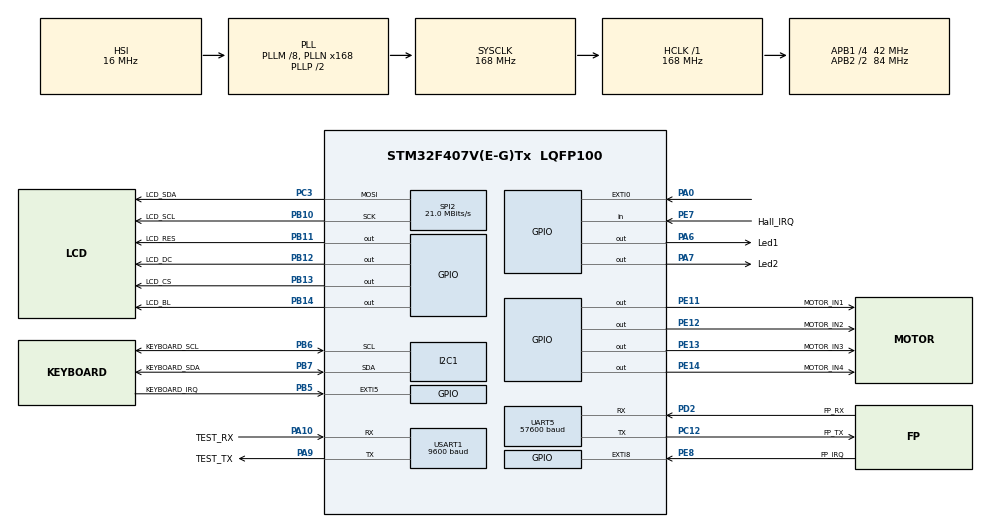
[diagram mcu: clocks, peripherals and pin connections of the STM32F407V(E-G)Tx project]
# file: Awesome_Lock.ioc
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IWDG.Prescaler=IWDG_PRESCALER_256
IWDG.Reload=1249
Mcu.Family=STM32F4
Mcu.Name=STM32F407V(E-G)Tx
Mcu.Package=LQFP100
NVIC.EXTI0_IRQn=true\:3\:0\:true\:false\:true\:true\:true
NVIC.EXTI9_5_IRQn=true\:3\:0\:true\:false\:true\:true\:true
NVIC.PriorityGroup=NVIC_PRIORITYGROUP_4
NVIC.TIM2_IRQn=true\:5\:0\:true\:false\:true\:true\:true
NVIC.TIM4_IRQn=true\:5\:0\:true\:false\:true\:true\:true
NVIC.TIM6_DAC_IRQn=true\:0\:0\:true\:false\:true\:true\:true
NVIC.TIM7_IRQn=true\:5\:0\:true\:false\:true\:true\:true
NVIC.UART5_IRQn=true\:2\:0\:true\:false\:true\:true\:true
PA0-WKUP.GPIO_ModeDefaultEXTI=GPIO_MODE_IT_RISING
PA0-WKUP.GPIO_PuPd=GPIO_PULLDOWN
PA0-WKUP.Signal=GPXTI0
PA10.GPIO_Label=TEST_RX
PA10.GPIO_PuPd=GPIO_PULLUP
PA10.Mode=Asynchronous
PA10.Signal=USART1_RX
PA6.GPIO_Label=Led1
PA6.Signal=GPIO_Output
PA7.GPIO_Label=Led2
PA7.Signal=GPIO_Output
PA9.GPIO_Label=TEST_TX
PA9.GPIO_PuPd=GPIO_PULLUP
PA9.Mode=Asynchronous
PA9.Signal=USART1_TX
PB10.GPIO_Label=LCD_SCL
PB10.Mode=TX_Only_Simplex_Unidirect_Master
PB10.Signal=SPI2_SCK
PB11.GPIO_Label=LCD_RES
PB11.Signal=GPIO_Output
PB12.GPIO_Label=LCD_DC
PB12.Signal=GPIO_Output
PB13.GPIO_Label=LCD_CS
PB13.Signal=GPIO_Output
PB14.GPIO_Label=LCD_BL
PB14.Signal=GPIO_Output
PB5.GPIO_Label=KEYBOARD_IRQ
PB5.GPIO_ModeDefaultEXTI=GPIO_MODE_IT_FALLING
PB5.GPIO_PuPd=GPIO_PULLUP
PB5.Signal=GPXTI5
PB6.GPIO_Label=KEYBOARD_SCL
PB6.Mode=I2C
PB6.Signal=I2C1_SCL
PB7.GPIO_Label=KEYBOARD_SDA
PB7.Mode=I2C
PB7.Signal=I2C1_SDA
PC12.GPIO_Label=FP_TX
PC12.Mode=Asynchronous
PC12.Signal=UART5_TX
PC3.GPIO_Label=LCD_SDA
PC3.Mode=TX_Only_Simplex_Unidirect_Master
PC3.Signal=SPI2_MOSI
PD2.GPIO_Label=FP_RX
PD2.Mode=Asynchronous
PD2.Signal=UART5_RX
PE11.GPIO_Label=MOTOR_IN1
PE11.Signal=GPIO_Output
PE12.GPIO_Label=MOTOR_IN2
PE12.Signal=GPIO_Output
PE13.GPIO_Label=MOTOR_IN3
PE13.Signal=GPIO_Output
PE14.GPIO_Label=MOTOR_IN4
PE14.Signal=GPIO_Output
PE7.GPIO_Label=Hall_IRQ
PE7.GPIO_PuPd=GPIO_PULLUP
PE7.Signal=GPIO_Input
PE8.GPIO_Label=FP_IRQ
PE8.GPIO_ModeDefaultEXTI=GPIO_MODE_IT_RISING
PE8.GPIO_PuPd=GPIO_PULLUP
PE8.Signal=GPXTI8
ProjectManager.HeapSize=0x400
ProjectManager.StackSize=0x2000
ProjectManager.TargetToolchain=MDK-ARM V5.32
RCC.48MHZClocksFreq_Value=84000000
RCC.AHBFreq_Value=168000000
RCC.APB1CLKDivider=RCC_HCLK_DIV4
RCC.APB1Freq_Value=42000000
RCC.APB1TimFreq_Value=84000000
RCC.APB2CLKDivider=RCC_HCLK_DIV2
RCC.APB2Freq_Value=84000000
RCC.APB2TimFreq_Value=168000000
RCC.CortexFreq_Value=168000000
RCC.HCLKFreq_Value=168000000
RCC.HSE_VALUE=8000000
RCC.HSI_VALUE=16000000
RCC.LSE_VALUE=32768
RCC.PLLM=8
RCC.PLLN=168
RCC.SYSCLKFreq_VALUE=168000000
RCC.SYSCLKSource=RCC_SYSCLKSOURCE_PLLCLK
RCC.VCOOutputFreq_Value=336000000
SPI2.BaudRatePrescaler=SPI_BAUDRATEPRESCALER_2
SPI2.CalculateBaudRate=21.0 MBits/s
SPI2.Direction=SPI_DIRECTION_2LINES
SPI2.Mode=SPI_MODE_MASTER
SPI2.VirtualType=VM_MASTER
TIM2.AutoReloadPreload=TIM_AUTORELOAD_PRELOAD_ENABLE
TIM2.Period=9999
TIM2.Prescaler=8399
TIM4.Period=3999
TIM4.Prescaler=41999
TIM6.AutoReloadPreload=TIM_AUTORELOAD_PRELOAD_ENABLE
TIM6.Period=199
TIM6.Prescaler=167
TIM7.Period=999
TIM7.Prescaler=16799
UART5.BaudRate=57600
UART5.VirtualMode=Asynchronous
USART1.BaudRate=9600
USART1.StopBits=STOPBITS_1
USART1.VirtualMode=VM_ASYNC
VP_IWDG_VS_IWDG.Mode=IWDG_Activate
VP_TIM2_VS_ClockSourceINT.Mode=Internal
VP_TIM4_VS_ClockSourceINT.Mode=Internal
VP_TIM6_VS_ClockSourceINT.Mode=Enable_Timer
VP_TIM7_VS_ClockSourceINT.Mode=Enable_Timer
board=custom

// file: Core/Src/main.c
/* USER CODE END 4 */
/**
  ******************************************************************************
  * @file           : main.c
  * @brief          : Main program body
  ******************************************************************************
  * @attention
  *
  * Copyright (c) 2025 STMicroelectronics.
  * All rights reserved.
  *
  * This software is licensed under terms that can be found in the LICENSE file
  * in the root directory of this software component.
  * If no LICENSE file comes with this software, it is provided AS-IS.
  *
  ******************************************************************************
  */
/* USER CODE END Header */
#include "main.h"

/* USER CODE BEGIN Includes */
#include "App.h"
#include "Debug.h"
#include "app_util.h"
/* USER CODE END Includes */

I2C_HandleTypeDef hi2c1;

IWDG_HandleTypeDef hiwdg;

SPI_HandleTypeDef hspi2;

TIM_HandleTypeDef htim2;
TIM_HandleTypeDef htim4;
TIM_HandleTypeDef htim6;
TIM_HandleTypeDef htim7;

UART_HandleTypeDef huart5;
UART_HandleTypeDef huart1;

void SystemClock_Config(void);
static void MX_GPIO_Init(void);
static void MX_I2C1_Init(void);
static void MX_SPI2_Init(void);
static void MX_TIM6_Init(void);
static void MX_TIM7_Init(void);
static void MX_USART1_UART_Init(void);
static void MX_UART5_Init(void);
static void MX_TIM2_Init(void);
static void MX_IWDG_Init(void);
static void MX_TIM4_Init(void);
/* USER CODE BEGIN 0 */
/*
 * 开机打印复位原因，便于定位“自动重启”：
 *   IWDG  -> 主循环超过约 10s 没喂狗（卡死/被中断饿死）
 *   POR   -> 正常上电
 *   PIN   -> 复位脚/下载器复位
 *   BOR   -> 供电跌落
 *   SFTRST-> 软件复位
 */
static void Report_Reset_Cause(void)
{
    volatile AppFaultRecord *record = App_GetFaultRecord();

    uart_printf("\r\n=== BOOT ===\r\n");

    if ((record->magic == APP_FAULT_RECORD_MAGIC) &&
        (record->code_inv == ~record->code))
    {
        uart_printf("PREV FAULT code=%lu (1=Hard 2=Mem 3=Bus 4=Usage 5=NMI 6=ErrorHandler)\r\n",
                    (unsigned long)record->code);
    }
    record->magic = 0U;
    record->code = 0U;
    record->code_inv = 0U;

    if (__HAL_RCC_GET_FLAG(RCC_FLAG_IWDGRST) != RESET)
    {
        uart_printf("RESET: IWDG (main loop stuck / watchdog)\r\n");
    }
    else if (__HAL_RCC_GET_FLAG(RCC_FLAG_WWDGRST) != RESET)
    {
        uart_printf("RESET: WWDG\r\n");
    }
    else if (__HAL_RCC_GET_FLAG(RCC_FLAG_BORRST) != RESET)
    {
        uart_printf("RESET: BOR (power dip)\r\n");
    }
    else if (__HAL_RCC_GET_FLAG(RCC_FLAG_SFTRST) != RESET)
    {
        uart_printf("RESET: Software\r\n");
    }
    else if (__HAL_RCC_GET_FLAG(RCC_FLAG_PINRST) != RESET)
    {
        uart_printf("RESET: Pin / debugger\r\n");
    }
    else if (__HAL_RCC_GET_FLAG(RCC_FLAG_PORRST) != RESET)
    {
        uart_printf("RESET: Power-on\r\n");
    }
    else
    {
        uart_printf("RESET: unknown\r\n");
    }

    __HAL_RCC_CLEAR_RESET_FLAGS();
}
/* USER CODE END 0 */

int main(void)
{

    /* MCU Configuration--------------------------------------------------------*/

    /* Reset of all peripherals, Initializes the Flash interface and the Systick. */
    HAL_Init();

    /* Configure the system clock */
    SystemClock_Config();

    /* USER CODE END TIM6_Init 1 */
	/*
	 * 说明：
	 * 旧版为了绕开“上电中断早于外设初始化”的问题，采用了
	 * “先初始化 GPIO → 关闭 EXTI → 初始化外设 → 再打开 EXTI”的 hack。
	 * 新版中断里只投递事件，不再访问任何外设，因此保持 CubeMX 默认顺序即可。
	 */
    /* USER CODE END SysInit */

    /* Initialize all configured peripherals */
    MX_GPIO_Init();
    MX_I2C1_Init();
    MX_SPI2_Init();
    MX_TIM6_Init();
    MX_TIM7_Init();
    MX_USART1_UART_Init();
    MX_UART5_Init();
    MX_TIM2_Init();
    MX_IWDG_Init();
    MX_TIM4_Init();
  /* USER CODE BEGIN 2 */
	/* 给指纹模块、键盘等外部器件留出上电稳定时间 */
	HAL_Delay(100);
	Report_Reset_Cause();
	HAL_Delay(200);
	App_Init();
  /* USER CODE END 2 */

    /* Infinite loop */
    while (1)
    {

        /* USER CODE BEGIN 3 */
		App_Running();
    }
  /* USER CODE END 6 */
}

/**
    * @brief System Clock Configuration
    * @retval None
    */
void SystemClock_Config(void)
{
    RCC_OscInitTypeDef RCC_OscInitStruct = {0};
    RCC_ClkInitTypeDef RCC_ClkInitStruct = {0};

    /** Configure the main internal regulator output voltage
    */
    __HAL_RCC_PWR_CLK_ENABLE();
    __HAL_PWR_VOLTAGESCALING_CONFIG(PWR_REGULATOR_VOLTAGE_SCALE1);
    /** Initializes the RCC Oscillators according to the specified parameters
    * in the RCC_OscInitTypeDef structure.
    */
    RCC_OscInitStruct.OscillatorType = RCC_OSCILLATORTYPE_HSI|RCC_OSCILLATORTYPE_LSI;
    RCC_OscInitStruct.HSIState = RCC_HSI_ON;
    RCC_OscInitStruct.HSICalibrationValue = RCC_HSICALIBRATION_DEFAULT;
    RCC_OscInitStruct.LSIState = RCC_LSI_ON;
    RCC_OscInitStruct.PLL.PLLState = RCC_PLL_ON;
    RCC_OscInitStruct.PLL.PLLSource = RCC_PLLSOURCE_HSI;
    RCC_OscInitStruct.PLL.PLLM = 8;
    RCC_OscInitStruct.PLL.PLLN = 168;
    RCC_OscInitStruct.PLL.PLLP = RCC_PLLP_DIV2;
    RCC_OscInitStruct.PLL.PLLQ = 4;
    if (HAL_RCC_OscConfig(&RCC_OscInitStruct) != HAL_OK)
    {
        Error_Handler();
    }
    /** Initializes the CPU, AHB and APB buses clocks
    */
    RCC_ClkInitStruct.ClockType = RCC_CLOCKTYPE_HCLK|RCC_CLOCKTYPE_SYSCLK
                                                            |RCC_CLOCKTYPE_PCLK1|RCC_CLOCKTYPE_PCLK2;
    RCC_ClkInitStruct.SYSCLKSource = RCC_SYSCLKSOURCE_PLLCLK;
    RCC_ClkInitStruct.AHBCLKDivider = RCC_SYSCLK_DIV1;
    RCC_ClkInitStruct.APB1CLKDivider = RCC_HCLK_DIV4;
    RCC_ClkInitStruct.APB2CLKDivider = RCC_HCLK_DIV2;

    if (HAL_RCC_ClockConfig(&RCC_ClkInitStruct, FLASH_LATENCY_5) != HAL_OK)
    {
        Error_Handler();
    }
}

/**
    * @brief I2C1 Initialization Function
    * @param None
    * @retval None
    */
static void MX_I2C1_Init(void)
{

    /* USER CODE BEGIN I2C1_Init 0 */
    /* USER CODE END I2C1_Init 0 */

    /* USER CODE BEGIN I2C1_Init 1 */

    /* USER CODE END I2C1_Init 1 */
    hi2c1.Instance = I2C1;
    hi2c1.Init.ClockSpeed = 100000;
    hi2c1.Init.DutyCycle = I2C_DUTYCYCLE_2;
    hi2c1.Init.OwnAddress1 = 0;
    hi2c1.Init.AddressingMode = I2C_ADDRESSINGMODE_7BIT;
    hi2c1.Init.DualAddressMode = I2C_DUALADDRESS_DISABLE;
    hi2c1.Init.OwnAddress2 = 0;
    hi2c1.Init.GeneralCallMode = I2C_GENERALCALL_DISABLE;
    hi2c1.Init.NoStretchMode = I2C_NOSTRETCH_DISABLE;
    if (HAL_I2C_Init(&hi2c1) != HAL_OK)
    {
        Error_Handler();
    }
    /* USER CODE BEGIN I2C1_Init 2 */

  /* USER CODE END Error_Handler_Debug */

}

/**
    * @brief IWDG Initialization Function
    * @param None
    * @retval None
    */
static void MX_IWDG_Init(void)
{

    /* USER CODE BEGIN IWDG_Init 0 */

    /* USER CODE END IWDG_Init 0 */

    /* USER CODE BEGIN IWDG_Init 1 */

    /* USER CODE END IWDG_Init 1 */
    /*
     * IWDG 约 10s 超时（LSI 32kHz / 256 / 1250 ≈ 10s）。
     * 必须大于最长的合法阻塞操作：Sector5（128KB）Flash 擦除最坏约 4s。
     * 看门狗只在主循环喂，任何任务卡死都会自动复位，而不是像旧版那样
     * 在 TIM4 中断里喂狗、主循环死了还能“假活”。
     */
    hiwdg.Instance = IWDG;
    hiwdg.Init.Prescaler = IWDG_PRESCALER_256;
    hiwdg.Init.Reload = 1249;
    if (HAL_IWDG_Init(&hiwdg) != HAL_OK)
    {
        Error_Handler();
    }
    /* USER CODE BEGIN IWDG_Init 2 */

    /* USER CODE END USART1_Init 2 */

}

/**
    * @brief SPI2 Initialization Function
    * @param None
    * @retval None
    */
static void MX_SPI2_Init(void)
{

    /* USER CODE BEGIN SPI2_Init 0 */

    /* USER CODE END SPI2_Init 0 */

    /* USER CODE BEGIN SPI2_Init 1 */

    /* USER CODE END SPI2_Init 1 */
    /* SPI2 parameter configuration*/
    hspi2.Instance = SPI2;
    hspi2.Init.Mode = SPI_MODE_MASTER;
    hspi2.Init.Direction = SPI_DIRECTION_2LINES;
    hspi2.Init.DataSize = SPI_DATASIZE_8BIT;
    hspi2.Init.CLKPolarity = SPI_POLARITY_LOW;
    hspi2.Init.CLKPhase = SPI_PHASE_1EDGE;
    hspi2.Init.NSS = SPI_NSS_SOFT;
    hspi2.Init.BaudRatePrescaler = SPI_BAUDRATEPRESCALER_2;
    hspi2.Init.FirstBit = SPI_FIRSTBIT_MSB;
    hspi2.Init.TIMode = SPI_TIMODE_DISABLE;
    hspi2.Init.CRCCalculation = SPI_CRCCALCULATION_DISABLE;
    hspi2.Init.CRCPolynomial = 10;
    if (HAL_SPI_Init(&hspi2) != HAL_OK)
    {
        Error_Handler();
    }
    /* USER CODE BEGIN SPI2_Init 2 */

    /* USER CODE END UART5_Init 2 */

}

/**
    * @brief TIM2 Initialization Function
    * @param None
    * @retval None
    */
static void MX_TIM2_Init(void)
{

    /* USER CODE BEGIN TIM2_Init 0 */

    /* USER CODE END TIM4_Init 0 */

    TIM_ClockConfigTypeDef sClockSourceConfig = {0};
    TIM_MasterConfigTypeDef sMasterConfig = {0};

    /* USER CODE BEGIN TIM2_Init 1 */

    /* USER CODE END TIM2_Init 1 */
    htim2.Instance = TIM2;
    htim2.Init.Prescaler = 8399;
    htim2.Init.CounterMode = TIM_COUNTERMODE_UP;
    htim2.Init.Period = 9999;
    htim2.Init.ClockDivision = TIM_CLOCKDIVISION_DIV1;
    htim2.Init.AutoReloadPreload = TIM_AUTORELOAD_PRELOAD_ENABLE;
    if (HAL_TIM_Base_Init(&htim2) != HAL_OK)
    {
        Error_Handler();
    }
    sClockSourceConfig.ClockSource = TIM_CLOCKSOURCE_INTERNAL;
    if (HAL_TIM_ConfigClockSource(&htim2, &sClockSourceConfig) != HAL_OK)
    {
        Error_Handler();
    }
    sMasterConfig.MasterOutputTrigger = TIM_TRGO_RESET;
    sMasterConfig.MasterSlaveMode = TIM_MASTERSLAVEMODE_DISABLE;
    if (HAL_TIMEx_MasterConfigSynchronization(&htim2, &sMasterConfig) != HAL_OK)
    {
        Error_Handler();
    }
    /* USER CODE BEGIN TIM2_Init 2 */

    /* USER CODE END TIM7_Init 2 */

}

/**
    * @brief TIM4 Initialization Function
    * @param None
    * @retval None
    */
static void MX_TIM4_Init(void)
{

    /* USER CODE BEGIN TIM4_Init 0 */

    /* USER CODE END TIM2_Init 0 */

    TIM_ClockConfigTypeDef sClockSourceConfig = {0};
    TIM_MasterConfigTypeDef sMasterConfig = {0};

    /* USER CODE BEGIN TIM4_Init 1 */

    /* USER CODE END TIM4_Init 1 */
    htim4.Instance = TIM4;
    htim4.Init.Prescaler = 41999;
    htim4.Init.CounterMode = TIM_COUNTERMODE_UP;
    htim4.Init.Period = 3999;
    htim4.Init.ClockDivision = TIM_CLOCKDIVISION_DIV1;
    htim4.Init.AutoReloadPreload = TIM_AUTORELOAD_PRELOAD_DISABLE;
    if (HAL_TIM_Base_Init(&htim4) != HAL_OK)
    {
        Error_Handler();
    }
    sClockSourceConfig.ClockSource = TIM_CLOCKSOURCE_INTERNAL;
    if (HAL_TIM_ConfigClockSource(&htim4, &sClockSourceConfig) != HAL_OK)
    {
        Error_Handler();
    }
    sMasterConfig.MasterOutputTrigger = TIM_TRGO_RESET;
    sMasterConfig.MasterSlaveMode = TIM_MASTERSLAVEMODE_DISABLE;
    if (HAL_TIMEx_MasterConfigSynchronization(&htim4, &sMasterConfig) != HAL_OK)
    {
        Error_Handler();
    }
    /* USER CODE BEGIN TIM4_Init 2 */

    /* USER CODE END TIM6_Init 2 */

}

/**
    * @brief TIM6 Initialization Function
    * @param None
    * @retval None
    */
static void MX_TIM6_Init(void)
{

    /* USER CODE BEGIN TIM6_Init 0 */

    /* USER CODE END TIM7_Init 0 */

    TIM_MasterConfigTypeDef sMasterConfig = {0};

    /* USER CODE BEGIN TIM6_Init 1 */

    /* USER CODE BEGIN SysInit */
    /*
     * TIM6 作为步进电机 1us 时基：
     * APB1 定时器时钟 84MHz，84MHz / (83 + 1) = 1MHz。
     * 这样 stepper_motor 里的 step_us 参数就是真实的微秒数，
     * 不再像旧版那样“1 个计数 = 2us”，导致配置值与实际速度差一倍。
     */
    htim6.Instance = TIM6;
    htim6.Init.Prescaler = 167;
    htim6.Init.CounterMode = TIM_COUNTERMODE_UP;
    htim6.Init.Period = 199;
    htim6.Init.AutoReloadPreload = TIM_AUTORELOAD_PRELOAD_ENABLE;
    if (HAL_TIM_Base_Init(&htim6) != HAL_OK)
    {
        Error_Handler();
    }
    sMasterConfig.MasterOutputTrigger = TIM_TRGO_RESET;
    sMasterConfig.MasterSlaveMode = TIM_MASTERSLAVEMODE_DISABLE;
    if (HAL_TIMEx_MasterConfigSynchronization(&htim6, &sMasterConfig) != HAL_OK)
    {
        Error_Handler();
    }
    /* USER CODE BEGIN TIM6_Init 2 */

    /* USER CODE END TIM4_Init 2 */

}

/**
    * @brief TIM7 Initialization Function
    * @param None
    * @retval None
    */
static void MX_TIM7_Init(void)
{

    /* USER CODE BEGIN TIM7_Init 0 */

    /* USER CODE END TIM6_Init 0 */

    TIM_MasterConfigTypeDef sMasterConfig = {0};

    /* USER CODE BEGIN TIM7_Init 1 */

    /* USER CODE END TIM7_Init 1 */
    htim7.Instance = TIM7;
    htim7.Init.Prescaler = 16799;
    htim7.Init.CounterMode = TIM_COUNTERMODE_UP;
    htim7.Init.Period = 999;
    htim7.Init.AutoReloadPreload = TIM_AUTORELOAD_PRELOAD_DISABLE;
    if (HAL_TIM_Base_Init(&htim7) != HAL_OK)
    {
        Error_Handler();
    }
    sMasterConfig.MasterOutputTrigger = TIM_TRGO_RESET;
    sMasterConfig.MasterSlaveMode = TIM_MASTERSLAVEMODE_DISABLE;
    if (HAL_TIMEx_MasterConfigSynchronization(&htim7, &sMasterConfig) != HAL_OK)
    {
        Error_Handler();
    }
    /* USER CODE BEGIN TIM7_Init 2 */

    /* USER CODE END TIM2_Init 2 */

}

/**
    * @brief UART5 Initialization Function
    * @param None
    * @retval None
    */
static void MX_UART5_Init(void)
{

    /* USER CODE BEGIN UART5_Init 0 */

    /* USER CODE END UART5_Init 0 */

    /* USER CODE BEGIN UART5_Init 1 */

    /* USER CODE END UART5_Init 1 */
    huart5.Instance = UART5;
    huart5.Init.BaudRate = 57600;
    huart5.Init.WordLength = UART_WORDLENGTH_8B;
    huart5.Init.StopBits = UART_STOPBITS_1;
    huart5.Init.Parity = UART_PARITY_NONE;
    huart5.Init.Mode = UART_MODE_TX_RX;
    huart5.Init.HwFlowCtl = UART_HWCONTROL_NONE;
    huart5.Init.OverSampling = UART_OVERSAMPLING_16;
    if (HAL_UART_Init(&huart5) != HAL_OK)
    {
        Error_Handler();
    }
    /* USER CODE BEGIN UART5_Init 2 */

    /* USER CODE END SPI2_Init 2 */

}

/**
    * @brief USART1 Initialization Function
    * @param None
    * @retval None
    */
static void MX_USART1_UART_Init(void)
{

    /* USER CODE BEGIN USART1_Init 0 */

    /* USER CODE END USART1_Init 0 */

    /* USER CODE BEGIN USART1_Init 1 */

    /* USER CODE END USART1_Init 1 */
    huart1.Instance = USART1;
    huart1.Init.BaudRate = 9600;
    huart1.Init.WordLength = UART_WORDLENGTH_8B;
    huart1.Init.StopBits = UART_STOPBITS_1;
    huart1.Init.Parity = UART_PARITY_NONE;
    huart1.Init.Mode = UART_MODE_TX_RX;
    huart1.Init.HwFlowCtl = UART_HWCONTROL_NONE;
    huart1.Init.OverSampling = UART_OVERSAMPLING_16;
    if (HAL_UART_Init(&huart1) != HAL_OK)
    {
        Error_Handler();
    }
    /* USER CODE BEGIN USART1_Init 2 */

    /* USER CODE END IWDG_Init 2 */

}

/**
    * @brief GPIO Initialization Function
    * @param None
    * @retval None
    */
static void MX_GPIO_Init(void)
{
    GPIO_InitTypeDef GPIO_InitStruct = {0};

    /* GPIO Ports Clock Enable */
    __HAL_RCC_GPIOC_CLK_ENABLE();
    __HAL_RCC_GPIOA_CLK_ENABLE();
    __HAL_RCC_GPIOE_CLK_ENABLE();
    __HAL_RCC_GPIOB_CLK_ENABLE();
    __HAL_RCC_GPIOD_CLK_ENABLE();

    /*Configure GPIO pin Output Level */
    HAL_GPIO_WritePin(GPIOA, Led1_Pin|Led2_Pin, GPIO_PIN_RESET);

    /*Configure GPIO pin Output Level */
    HAL_GPIO_WritePin(GPIOE, MOTOR_IN1_Pin|MOTOR_IN2_Pin|MOTOR_IN3_Pin|MOTOR_IN4_Pin, GPIO_PIN_RESET);

    /*Configure GPIO pin Output Level */
    HAL_GPIO_WritePin(GPIOB, LCD_RES_Pin|LCD_DC_Pin|LCD_CS_Pin|LCD_BL_Pin, GPIO_PIN_RESET);

    /*Configure GPIO pin : PA0 */
    GPIO_InitStruct.Pin = GPIO_PIN_0;
    GPIO_InitStruct.Mode = GPIO_MODE_IT_RISING;
    /*
     * 人体感应模块未接时 PA0 会悬空，可能产生大量边沿中断。
     * 加上下拉，空闲时保持低电平，避免 EXTI0 中断风暴拖死主循环。
     */
    GPIO_InitStruct.Pull = GPIO_PULLDOWN;
    HAL_GPIO_Init(GPIOA, &GPIO_InitStruct);

    /*Configure GPIO pins : Led1_Pin Led2_Pin */
    GPIO_InitStruct.Pin = Led1_Pin|Led2_Pin;
    GPIO_InitStruct.Mode = GPIO_MODE_OUTPUT_PP;
    GPIO_InitStruct.Pull = GPIO_NOPULL;
    GPIO_InitStruct.Speed = GPIO_SPEED_FREQ_LOW;
    HAL_GPIO_Init(GPIOA, &GPIO_InitStruct);

/* USER CODE BEGIN 0 */
    /*Configure GPIO pin : Hall_IRQ_Pin */
    GPIO_InitStruct.Pin = Hall_IRQ_Pin;
    GPIO_InitStruct.Mode = GPIO_MODE_INPUT;
    GPIO_InitStruct.Pull = GPIO_PULLUP;
    HAL_GPIO_Init(Hall_IRQ_GPIO_Port, &GPIO_InitStruct);

    /* 确保 EXTI line7 不会因为历史配置/调试器状态继续触发 */
    EXTI->IMR &= ~(1UL << 7);
    EXTI->EMR &= ~(1UL << 7);
    EXTI->RTSR &= ~(1UL << 7);
    EXTI->FTSR &= ~(1UL << 7);
    EXTI->PR = (1UL << 7);

    /*Configure GPIO pin : FP_IRQ_Pin */
    GPIO_InitStruct.Pin = FP_IRQ_Pin;
    GPIO_InitStruct.Mode = GPIO_MODE_IT_RISING;
    GPIO_InitStruct.Pull = GPIO_PULLUP;
    HAL_GPIO_Init(FP_IRQ_GPIO_Port, &GPIO_InitStruct);

    /*Configure GPIO pins : MOTOR_IN1_Pin MOTOR_IN2_Pin MOTOR_IN3_Pin MOTOR_IN4_Pin */
    GPIO_InitStruct.Pin = MOTOR_IN1_Pin|MOTOR_IN2_Pin|MOTOR_IN3_Pin|MOTOR_IN4_Pin;
    GPIO_InitStruct.Mode = GPIO_MODE_OUTPUT_PP;
    GPIO_InitStruct.Pull = GPIO_NOPULL;
    GPIO_InitStruct.Speed = GPIO_SPEED_FREQ_LOW;
    HAL_GPIO_Init(GPIOE, &GPIO_InitStruct);

    /*Configure GPIO pins : LCD_RES_Pin LCD_DC_Pin LCD_CS_Pin LCD_BL_Pin */
    GPIO_InitStruct.Pin = LCD_RES_Pin|LCD_DC_Pin|LCD_CS_Pin|LCD_BL_Pin;
    GPIO_InitStruct.Mode = GPIO_MODE_OUTPUT_PP;
    GPIO_InitStruct.Pull = GPIO_NOPULL;
    GPIO_InitStruct.Speed = GPIO_SPEED_FREQ_LOW;
    HAL_GPIO_Init(GPIOB, &GPIO_InitStruct);

    /*Configure GPIO pin : KEYBOARD_IRQ_Pin */
    GPIO_InitStruct.Pin = KEYBOARD_IRQ_Pin;
    GPIO_InitStruct.Mode = GPIO_MODE_IT_FALLING;
    GPIO_InitStruct.Pull = GPIO_PULLUP;
    HAL_GPIO_Init(KEYBOARD_IRQ_GPIO_Port, &GPIO_InitStruct);

    /*
     * 中断优先级分组已改为 NVIC_PRIORITYGROUP_4（见 stm32f4xx_hal_msp.c）：
     *   SysTick = 0（最高，保证 HAL 超时计时永远在走）
     *   TIM6    = 1（电机节拍）
     *   UART5   = 2（指纹接收）
     *   EXTI    = 3（按键/指纹触摸/人体感应）
     * 由于 EXTI 里只投递事件，低优先级也不会影响实时性。
     */
    HAL_NVIC_SetPriority(EXTI0_IRQn, 3U, 0U);
    HAL_NVIC_EnableIRQ(EXTI0_IRQn);

    HAL_NVIC_SetPriority(EXTI9_5_IRQn, 3U, 0U);
    HAL_NVIC_EnableIRQ(EXTI9_5_IRQn);

}

/* USER CODE BEGIN 4 */

/* USER CODE BEGIN Header */

/**
  * @brief  This function is executed in case of error occurrence.
  * @retval None
  */
void Error_Handler(void)
{
  /* USER CODE BEGIN Error_Handler_Debug */
/* 不要永久关中断死循环：复位让系统恢复，串口留下标记 */
  volatile AppFaultRecord *record = App_GetFaultRecord();
  record->code = APP_FAULT_ERRORHANDLE;
  record->code_inv = ~APP_FAULT_ERRORHANDLE;
  record->magic = APP_FAULT_RECORD_MAGIC;
  __DSB();
  uart_printf("[ERROR_HANDLER]\r\n");
  __DSB();
  NVIC_SystemReset();
  while (1)
  {
  }
    /* USER CODE END I2C1_Init 2 */
}

#ifdef  USE_FULL_ASSERT
/**
  * @brief  Reports the name of the source file and the source line number
  *         where the assert_param error has occurred.
  * @param  file: pointer to the source file name
  * @param  line: assert_param error line source number
  * @retval None
  */
void assert_failed(uint8_t *file, uint32_t line)
{
  /* USER CODE BEGIN 6 */
  /* User can add his own implementation to report the file name and line number,
     ex: printf("Wrong parameters value: file %s on line %d\r\n", file, line) */
    /* USER CODE END 3 */
}
#endif /* USE_FULL_ASSERT */
